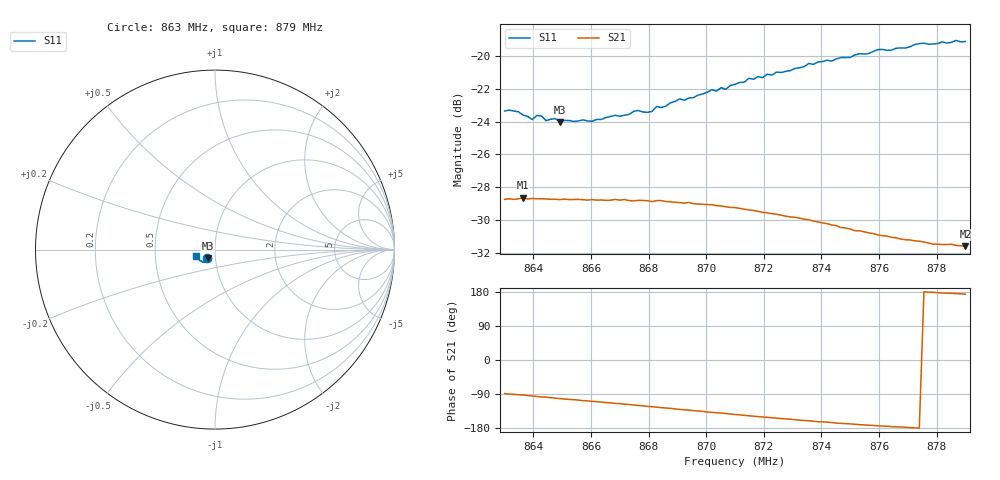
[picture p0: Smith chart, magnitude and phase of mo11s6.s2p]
# HZ S RI R 50
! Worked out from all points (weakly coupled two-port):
!   101 points, 863 MHz to 879 MHz, reference 50 ohm
!   highest |S21| = -28.64 dB at 863.64 MHz (marker M1); lowest = -31.6 dB at 879 MHz (marker M2)
!   lowest |S11| = -24.0 dB at 864.92 MHz (marker M3), VSWR 1.13, Z = 45.9 - j4.49 ohm
!   |S11| at or under -10 dB: start of sweep to end of sweep
!   S12 and S22 are empty: the file has one direction only
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8.63e8  -0.047 -0.0491  0.000846 -0.0366  0 0  0 0
8.6364e8  -0.044 -0.0493  -0.0014 -0.0369  0 0  0 0
8.6396e8  -0.0426 -0.0478  -0.00319 -0.0367  0 0  0 0
8.6412e8  -0.046 -0.0471  -0.00396 -0.0365  0 0  0 0
8.6428e8  -0.0426 -0.05  -0.0048 -0.0364  0 0  0 0
8.6444e8  -0.0409 -0.0486  -0.0051 -0.0363  0 0  0 0
8.6476e8  -0.0417 -0.0491  -0.00682 -0.036  0 0  0 0
8.6492e8  -0.04 -0.0487  -0.00745 -0.0357  0 0  0 0
8.6572e8  -0.0374 -0.0518  -0.0108 -0.0349  0 0  0 0
8.6604e8  -0.0368 -0.0514  -0.0119 -0.0345  0 0  0 0
8.6844e8  -0.0368 -0.0591  -0.0212 -0.0294  0 0  0 0
8.6908e8  -0.0401 -0.0622  -0.0231 -0.0273  0 0  0 0
8.6924e8  -0.0385 -0.0624  -0.0236 -0.0267  0 0  0 0
8.71e8  -0.0463 -0.0676  -0.0279 -0.0204  0 0  0 0
8.7148e8  -0.0508 -0.0687  -0.0285 -0.0184  0 0  0 0
8.7196e8  -0.0524 -0.0681  -0.0291 -0.0164  0 0  0 0
8.7212e8  -0.0539 -0.0695  -0.0291 -0.0161  0 0  0 0
8.7372e8  -0.0643 -0.069  -0.0298 -0.00997  0 0  0 0
8.7596e8  -0.0844 -0.0618  -0.0283 -0.00311  0 0  0 0
8.7644e8  -0.0868 -0.0578  -0.0279 -0.00202  0 0  0 0
8.774e8  -0.0958 -0.0522  -0.0273 -8.7e-05  0 0  0 0
8.79e8  -0.1045 -0.0365  -0.0262 0.00287  0 0  0 0
